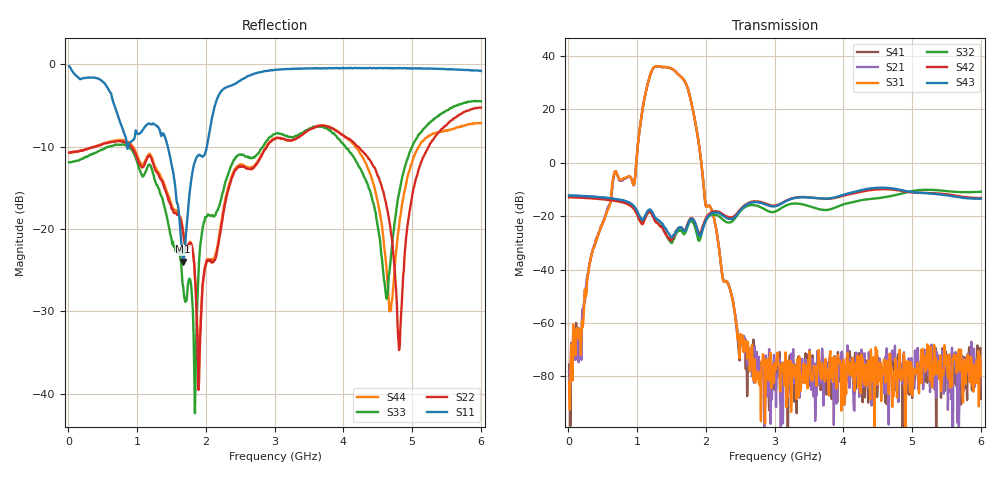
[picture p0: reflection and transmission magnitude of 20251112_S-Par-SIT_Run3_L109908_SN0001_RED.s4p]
!Keysight Technologies,P5024B,MY61400385,A.19.30.21
!Date: Wednesday, November 12, 2025 11:33:23
!Correction: S11(C  4-Port  )
!S12(C  4-Port  )
!S13(C  4-Port  )
!S14(C  4-Port  )
!S21(C  4-Port  )
!S22(C  4-Port  )
!S23(C  4-Port  )
!S24(C  4-Port  )
!S31(C  4-Port  )
!S32(C  4-Port  )
!S33(C  4-Port  )
!S34(C  4-Port  )
!S41(C  4-Port  )
!S42(C  4-Port  )
!S43(C  4-Port  )
!S44(C  4-Port  )
!S4P File: Measurements: <S11,S12,S13,S14>,
!<S21,S22,S23,S24>,
!<S31,S32,S33,S34>,
!<S41,S42,S43,S44>:
# Hz S  dB  R 50
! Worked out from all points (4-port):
!   600 points, 10 MHz to 6 GHz, reference 50 ohm
!   strongest paths, dB at 10 MHz, 1.51 GHz, 3.01 GHz, 4.51 GHz, 6 GHz:
!     S43: -12.3, -27.9, -16.3, -9.4, -13.5
!     S42: -13.0, -28.9, -16.0, -10.0, -13.2
!     S32: -12.3, -30.0, -18.3, -13.3, -10.9
!     S31: -82.2, 35.1, -77.6, -75.7, -79.7
!     S21: -78.2, 35.1, -79.6, -73.3, -77.1
!     S41: -75.6, 35.1, -81.2, -73.3, -88.5
!   lowest |S11| = -24.0 dB at 1.67 GHz (marker M1), VSWR 1.14, Z = 51 + j6.34 ohm
!   |S11| at or under -10 dB: 855.6 MHz to 871 MHz (15.34 MHz wide, 1.78 % of centre); 1.444 GHz to 2.013 GHz (568.6 MHz wide, 32.9 % of centre)
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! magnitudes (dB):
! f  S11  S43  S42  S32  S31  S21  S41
! 10 MHz  -0.2  -12.3  -13.0  -12.3  -82.2  -78.2  -75.6
! 1.2 GHz  -7.3  -17.9  -18.8  -18.4  33.6  33.6  33.6
! 1.67 GHz  -24.0  -25.3  -25.0  -26.5  31.3  31.3  31.3
! 2.48 GHz  -2.1  -18.5  -18.1  -18.8  -67.6  -67.9  -71.4
! 2.75 GHz  -1.0  -14.8  -14.5  -16.2  -80.8  -77.6  -73.5
! 4.81 GHz  -0.5  -10.1  -10.4  -11.8  -76.8  -75.9  -73.3
! 6 GHz  -0.8  -13.5  -13.2  -10.9  -79.7  -77.1  -88.5
